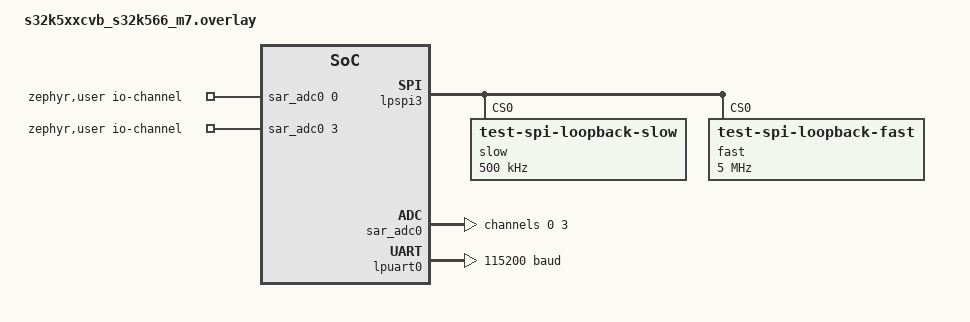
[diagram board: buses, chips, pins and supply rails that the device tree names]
/*
 * Copyright 2025 NXP
 *
 * SPDX-License-Identifier: Apache-2.0
 */

tst_dma0: &edma {};

#include <zephyr/dt-bindings/memory-attr/memory-attr-arm.h>

/ {
	soc {
		sram_nocache: memory@21070000 {
			compatible = "zephyr,memory-region", "mmio-sram";
			reg = <0x21070000 DT_SIZE_K(64)>;
			zephyr,memory-region = "SRAMNOCACHE";
			zephyr,memory-attr = <DT_MEM_ARM(ATTR_MPU_RAM_NOCACHE)>;
		};
	};
};

&sram0 {
	compatible = "mmio-sram";
	reg = <0x21000000 DT_SIZE_K(448)>;
};

&pinctrl {
	lpspi3_default: lpspi3_default {
		group0 {
			pinmux = <PO0_LPSPI3_SOUT_O>, <PO14_LPSPI3_SCK_O>;
			output-enable;
		};
		group1 {
			pinmux = <PO11_LPSPI3_SIN_I>;
			input-enable;
		};
	};
};

&lpspi3 {
	status = "okay";
	pinctrl-0 = <&lpspi3_default>;
	pinctrl-names = "default";
	pcs-sck-delay = <1000>;
	sck-pcs-delay = <1000>;
	transfer-delay = <1000>;
	slow@0 {
		compatible = "test-spi-loopback-slow";
		reg = <0>;
		spi-max-frequency = <500000>;
	};
	fast@0 {
		compatible = "test-spi-loopback-fast";
		reg = <0>;
		spi-max-frequency = <5000000>;
	};
};

#include <zephyr/dt-bindings/adc/adc.h>

/ {
	zephyr,user {
		io-channels = <&sar_adc0 0>, <&sar_adc0 3>;
	};
};

&sar_adc0 {
	group-channel = "precision";
	status = "okay";
	#address-cells = <1>;
	#size-cells = <0>;
	channel@0 {
		reg = <0>;
		zephyr,gain = "ADC_GAIN_1";
		zephyr,reference = "ADC_REF_INTERNAL";
		zephyr,acquisition-time = <ADC_ACQ_TIME_DEFAULT>;
		zephyr,resolution = <11>;
	};
	channel@3 {
		reg = <3>;
		zephyr,gain = "ADC_GAIN_1";
		zephyr,reference = "ADC_REF_INTERNAL";
		zephyr,acquisition-time = <ADC_ACQ_TIME_DEFAULT>;
		zephyr,resolution = <11>;
	};
};

&pinctrl {
	lpuart0_default: lpuart0_default {
		group1 {
			pinmux = <PA1_LPUART0_TX_O>, <PE2_LPUART0_RTS>;
			output-enable;
		};
		group2 {
			pinmux = <PB6_LPUART0_RX>, <PE5_LPUART0_CTS>;
			input-enable;
		};
	};
};

dut: &lpuart0 {
	pinctrl-0 = <&lpuart0_default>;
	pinctrl-names = "default";
	dmas = <&edma 0 94>, <&edma 2 93>;
	dma-names = "tx", "rx";
	current-speed = <115200>;
	nxp,loopback;
	status = "okay";
};

&lpuart3 {
	dmas = <&edma 0 100>, <&edma 2 99>;
	dma-names = "tx", "rx";
};
